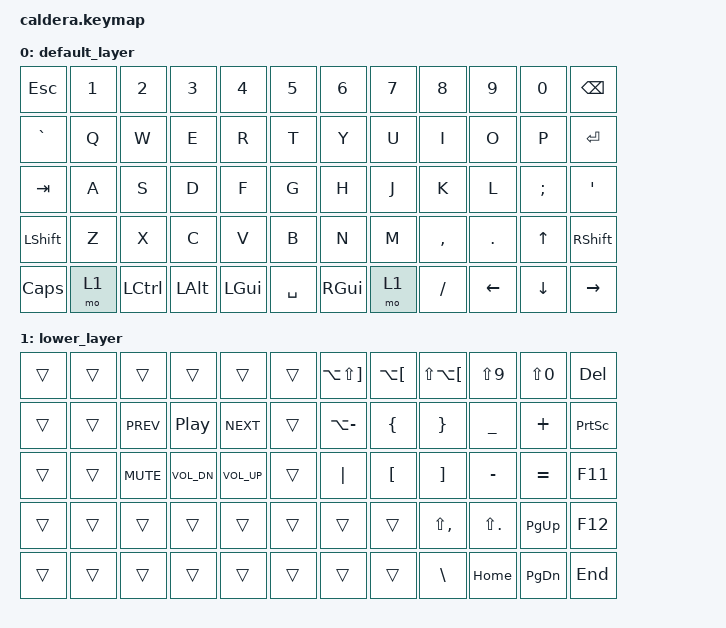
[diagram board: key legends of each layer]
#include <behaviors.dtsi>
#include <dt-bindings/zmk/keys.h>

/ {
    keymap {
        compatible = "zmk,keymap";

        default_layer {
            bindings = <
&kp ESC    &kp N1  &kp N2     &kp N3    &kp N4    &kp N5       &kp N6    &kp N7  &kp N8     &kp N9    &kp N0    &kp BACKSPACE
&kp GRAVE  &kp Q   &kp W      &kp E     &kp R     &kp T        &kp Y     &kp U   &kp I      &kp O     &kp P     &kp RET
&kp TAB    &kp A   &kp S      &kp D     &kp F     &kp G        &kp H     &kp J   &kp K      &kp L     &kp SEMI  &kp APOS
&kp LSHFT  &kp Z   &kp X      &kp C     &kp V     &kp B        &kp N     &kp M   &kp COMMA  &kp DOT   &kp UP    &kp RSHFT
&kp CAPS   &mo 1   &kp LCTRL  &kp LALT  &kp LGUI  &kp SPACE    &kp RGUI  &mo 1   &kp FSLH   &kp LEFT  &kp DOWN  &kp RIGHT
            >;
        };

        lower_layer {
            bindings = <
&trans  &trans  &trans      &trans        &trans        &trans    &kp LA(LS(RIGHT_BRACKET))  &kp LA(LEFT_BRACKET)  &kp LS(LA(LEFT_BRACKET))  &kp LS(N9)      &kp LS(N0)  &kp DEL
&trans  &trans  &kp C_PREV  &kp C_PP      &kp C_NEXT    &trans    &kp LA(MINUS)              &kp LEFT_BRACE        &kp RIGHT_BRACE           &kp UNDER       &kp PLUS    &kp PSCRN
&trans  &trans  &kp C_MUTE  &kp C_VOL_DN  &kp C_VOL_UP  &trans    &kp PIPE                   &kp LBKT              &kp RBKT                  &kp MINUS       &kp EQUAL   &kp F11
&trans  &trans  &trans      &trans        &trans        &trans    &trans                     &trans                &kp LS(COMMA)             &kp LS(PERIOD)  &kp PG_UP   &kp F12
&trans  &trans  &trans      &trans        &trans        &trans    &trans                     &trans                &kp BSLH                  &kp HOME        &kp PG_DN   &kp END
            >;
        };
    };
};
